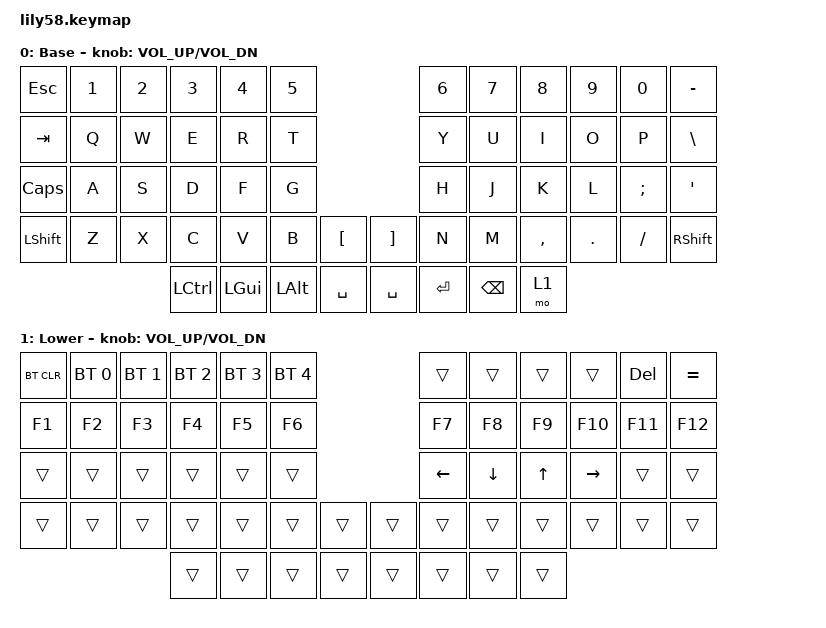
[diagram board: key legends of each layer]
/*
 * Copyright (c) 2020 The ZMK Contributors
 *
 * SPDX-License-Identifier: MIT
 */

#include <behaviors.dtsi>
#include <dt-bindings/zmk/bt.h>
#include <dt-bindings/zmk/keys.h>

/ {
    combos {
        compatible = "zmk,combos";

        ToMomentary {
            bindings = <&mo 1>;
            key-positions = <36 24>;
        };
    };

    keymap {
        compatible = "zmk,keymap";

        default_layer {
            // ------------------------------------------------------------------------------------------------------------
            // |  ESC  |  1  |  2  |  3   |  4   |  5   |                   |  6   |  7    |  8    |  9   |   0   |   `   |
            // |  TAB  |  Q  |  W  |  E   |  R   |  T   |                   |  Y   |  U    |  I    |  O   |   P   |   -   |
            // |  CTRL |  A  |  S  |  D   |  F   |  G   |                   |  H   |  J    |  K    |  L   |   ;   |   '   |
            // | SHIFT |  Z  |  X  |  C   |  V   |  B   |   "["  |  |  "]"  |  N   |  M    |  ,    |  .   |   /   | SHIFT |
            //                     | ALT  | GUI  | LOWER|  SPACE |  | ENTER | RAISE| BSPC  | GUI   |

            display-name = "Base";
            bindings = <
&kp ESC    &kp N1  &kp N2  &kp N3            &kp N4    &kp N5                                &kp N6      &kp N7    &kp N8     &kp N9   &kp N0    &kp MINUS
&kp TAB    &kp Q   &kp W   &kp E             &kp R     &kp T                                 &kp Y       &kp U     &kp I      &kp O    &kp P     &kp BACKSLASH
&kp CAPS   &kp A   &kp S   &kp D             &kp F     &kp G                                 &kp H       &kp J     &kp K      &kp L    &kp SEMI  &kp SQT
&kp LSHFT  &kp Z   &kp X   &kp C             &kp V     &kp B         &kp LBKT     &kp RBKT   &kp N       &kp M     &kp COMMA  &kp DOT  &kp FSLH  &kp RSHFT
                           &kp LEFT_CONTROL  &kp LGUI  &kp LEFT_ALT  &kp SPACE    &kp SPACE  &kp RETURN  &kp BSPC  &mo 1
            >;

            sensor-bindings = <&inc_dec_kp C_VOL_UP C_VOL_DN>;
        };

        AlternateKeys1 {
            // ------------------------------------------------------------------------------------------------------------
            // | BTCLR | BT1 | BT2 |  BT3 |  BT4 |  BT5 |                   |      |       |       |      |       |       |
            // |  F1   |  F2 |  F3 |  F4  |  F5  |  F6  |                   |  F7  |  F8   |  F9   |  F10 |  F11  |  F12  |
            // |   `   |  !  |  @  |  #   |  $   |  %   |                   |  ^   |  &    |  *    |  (   |   )   |   ~   |
            // |       |     |     |      |      |      |        |  |       |      |  _    |  +    |  {   |   }   |  "|"  |
            //                     |      |      |      |        |  |       |      |       |       |

            display-name = "Lower";
            bindings = <
&bt BT_CLR  &bt BT_SEL 0  &bt BT_SEL 1  &bt BT_SEL 2  &bt BT_SEL 3  &bt BT_SEL 4                    &trans    &trans    &trans  &trans     &kp DELETE  &kp EQUAL
&kp F1      &kp F2        &kp F3        &kp F4        &kp F5        &kp F6                          &kp F7    &kp F8    &kp F9  &kp F10    &kp F11     &kp F12
&trans      &trans        &trans        &trans        &trans        &trans                          &kp LEFT  &kp DOWN  &kp UP  &kp RIGHT  &trans      &trans
&trans      &trans        &trans        &trans        &trans        &trans        &trans    &trans  &trans    &trans    &trans  &trans     &trans      &trans
                                        &trans        &trans        &trans        &trans    &trans  &trans    &trans    &trans
            >;

            sensor-bindings = <&inc_dec_kp C_VOL_UP C_VOL_DN>;
        };

        extra_1 { status = "reserved"; };

        extra_2 { status = "reserved"; };

        extra_3 { status = "reserved"; };
    };
};
